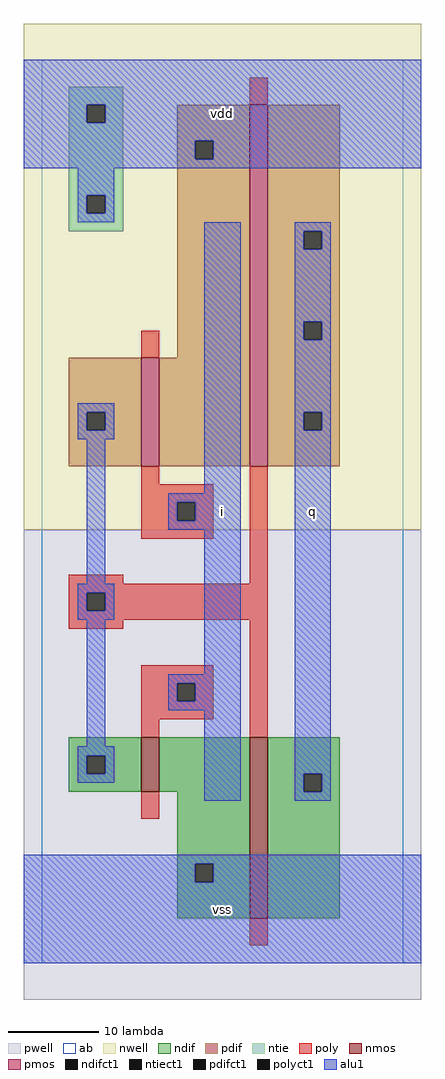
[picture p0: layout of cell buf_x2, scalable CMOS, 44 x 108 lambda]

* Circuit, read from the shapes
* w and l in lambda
.subckt buf_x2 i q vdd vss
M1 vss i n1 VSUBS nfet w=6 l=2
M2 q n1 vss VSUBS nfet w=20 l=2
M3 vdd i n1 vdd pfet w=12 l=2
M4 q n1 vdd vdd pfet w=40 l=2
.ends

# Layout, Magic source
magic
tech scmos
<< ab >>
rect 0 0 40 100
<< nwell >>
rect -2 48 42 104
<< pwell >>
rect -2 -4 42 48
<< poly >>
rect 23 95 25 98
rect 11 67 13 70
rect 11 53 13 55
rect 11 51 19 53
rect 11 49 15 51
rect 17 49 19 51
rect 11 47 19 49
rect 3 42 9 43
rect 23 42 25 55
rect 3 41 25 42
rect 3 39 5 41
rect 7 39 25 41
rect 3 38 25 39
rect 3 37 9 38
rect 11 31 19 33
rect 11 29 15 31
rect 17 29 19 31
rect 11 27 19 29
rect 11 25 13 27
rect 23 25 25 38
rect 11 16 13 19
rect 23 2 25 5
<< ndif >>
rect 3 23 11 25
rect 3 21 5 23
rect 7 21 11 23
rect 3 19 11 21
rect 13 19 23 25
rect 15 11 23 19
rect 15 9 17 11
rect 19 9 23 11
rect 15 5 23 9
rect 25 21 33 25
rect 25 19 29 21
rect 31 19 33 21
rect 25 5 33 19
<< pdif >>
rect 15 91 23 95
rect 15 89 17 91
rect 19 89 23 91
rect 15 67 23 89
rect 3 61 11 67
rect 3 59 5 61
rect 7 59 11 61
rect 3 55 11 59
rect 13 55 23 67
rect 25 81 33 95
rect 25 79 29 81
rect 31 79 33 81
rect 25 71 33 79
rect 25 69 29 71
rect 31 69 33 71
rect 25 61 33 69
rect 25 59 29 61
rect 31 59 33 61
rect 25 55 33 59
<< alu1 >>
rect -2 95 42 100
rect -2 93 5 95
rect 7 93 42 95
rect -2 91 42 93
rect -2 89 17 91
rect 19 89 42 91
rect -2 88 42 89
rect 4 85 8 88
rect 4 83 5 85
rect 7 83 8 85
rect 4 82 8 83
rect 4 61 8 62
rect 4 59 5 61
rect 7 59 8 61
rect 4 58 8 59
rect 5 42 7 58
rect 18 52 22 82
rect 14 51 22 52
rect 14 49 15 51
rect 17 49 22 51
rect 14 48 22 49
rect 4 41 8 42
rect 4 39 5 41
rect 7 39 8 41
rect 4 38 8 39
rect 5 24 7 38
rect 18 32 22 48
rect 14 31 22 32
rect 14 29 15 31
rect 17 29 22 31
rect 14 28 22 29
rect 4 23 8 24
rect 4 21 5 23
rect 7 21 8 23
rect 4 20 8 21
rect 18 18 22 28
rect 28 81 32 82
rect 28 79 29 81
rect 31 79 32 81
rect 28 71 32 79
rect 28 69 29 71
rect 31 69 32 71
rect 28 61 32 69
rect 28 59 29 61
rect 31 59 32 61
rect 28 21 32 59
rect 28 19 29 21
rect 31 19 32 21
rect 28 18 32 19
rect -2 11 42 12
rect -2 9 17 11
rect 19 9 42 11
rect -2 0 42 9
<< ntie >>
rect 3 95 9 97
rect 3 93 5 95
rect 7 93 9 95
rect 3 85 9 93
rect 3 83 5 85
rect 7 83 9 85
rect 3 81 9 83
<< nmos >>
rect 11 19 13 25
rect 23 5 25 25
<< pmos >>
rect 11 55 13 67
rect 23 55 25 95
<< polyct1 >>
rect 15 49 17 51
rect 5 39 7 41
rect 15 29 17 31
<< ndifct1 >>
rect 5 21 7 23
rect 17 9 19 11
rect 29 19 31 21
<< ntiect1 >>
rect 5 93 7 95
rect 5 83 7 85
<< pdifct1 >>
rect 17 89 19 91
rect 5 59 7 61
rect 29 79 31 81
rect 29 69 31 71
rect 29 59 31 61
<< labels >>
rlabel alu1 20 6 20 6 6 vss
rlabel alu1 20 50 20 50 6 i
rlabel alu1 20 94 20 94 6 vdd
rlabel alu1 30 50 30 50 6 q
<< end >>
